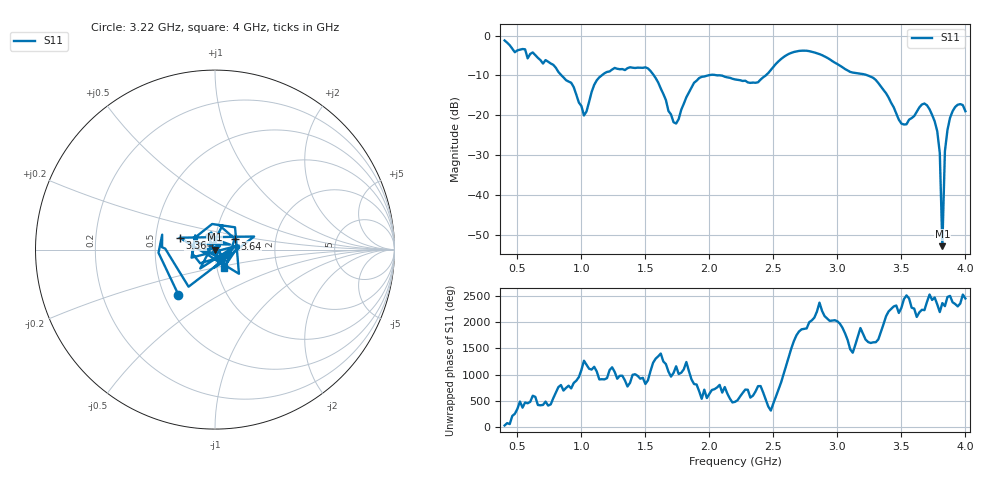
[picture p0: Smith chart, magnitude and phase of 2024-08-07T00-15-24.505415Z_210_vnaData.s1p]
!Created with skrf (http://scikit-rf.org).
# Hz S RI R 50.0
!freq ReS11 ImS11
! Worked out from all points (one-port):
!   181 points, 400 MHz to 4 GHz, reference 50 ohm
!   lowest |S11| = -52.9 dB at 3.82 GHz (marker M1), VSWR 1.00, Z = 49.8 - j0.103 ohm
!   |S11| at or under -10 dB: 1.567 GHz to 1.987 GHz (420.7 MHz wide, 23.7 % of centre); 2.091 GHz to 2.44 GHz (348.8 MHz wide, 15.4 % of centre); 3.238 GHz to end of sweep (the widest 3 of 4)
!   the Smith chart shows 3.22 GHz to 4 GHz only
!   S11 on the Smith chart (normalised r, x): 3.22 GHz: 0.59, -0.33; 3.36 GHz: 0.67, +0.09; 3.64 GHz: 1.24, +0.15; 4 GHz: 1.08, -0.22
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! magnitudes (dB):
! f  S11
! 400 MHz  -1.2
! 860 MHz  -10.5
! 940 MHz  -12.9
! 1.02 GHz  -20.0
! 1.12 GHz  -11.2
! 1.3 GHz  -8.4
! 1.52 GHz  -8.2
! 1.6 GHz  -11.8
! 1.72 GHz  -21.7
! 1.76 GHz  -20.9
! 1.92 GHz  -10.6
! 2.2 GHz  -11.0
! 2.38 GHz  -11.7
! 2.66 GHz  -4.1
! 3.1 GHz  -9.1
! 3.22 GHz  -9.8
! 3.36 GHz  -13.6
! 3.5 GHz  -22.1
! 3.56 GHz  -21.1
! 3.64 GHz  -18.0
! 3.7 GHz  -17.5
! 3.78 GHz  -24.0
! 3.8 GHz  -29.5
! 3.82 GHz  -52.9
! 3.84 GHz  -29.0
! 3.86 GHz  -23.7
! 3.92 GHz  -17.9
! 4 GHz  -19.0
